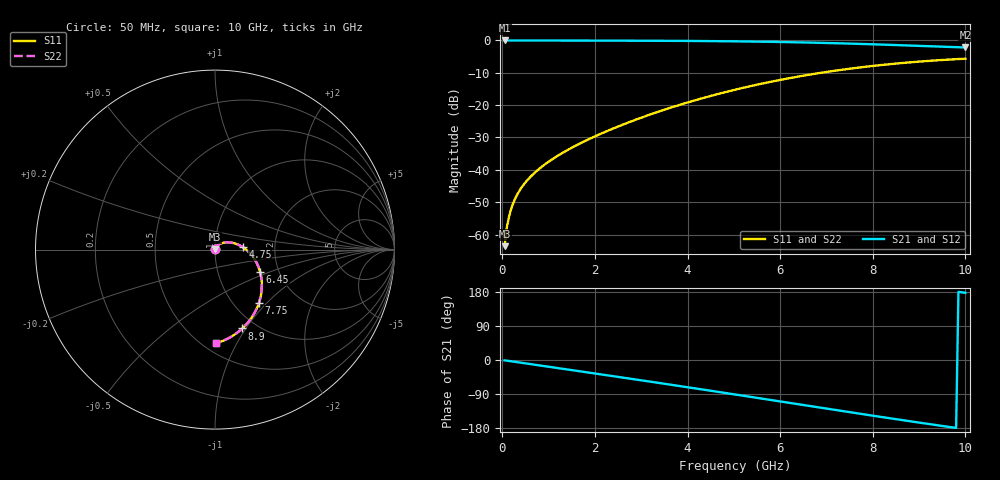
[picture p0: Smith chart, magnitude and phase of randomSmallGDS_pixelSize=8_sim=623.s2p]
! freq	dB(S11)	phase(S11)	dB(S12)	phase(S12)
!  dB(S21)	phase(S21)	dB(S22)	phase(S22)
!S-par simulation data
#  GHz  S  DB  R 50
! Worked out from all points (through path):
!   200 points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, 50 MHz to 10 GHz, reference 50 ohm
!   highest |S21| = 0.00 dB at 50 MHz (marker M1); lowest = -2.2 dB at 10 GHz (marker M2)
!   group delay of S21, straight-line fit = 51.3 ps
!   lowest |S11| = -63.6 dB at 50 MHz (marker M3), VSWR 1.00, Z = 50 + j0.0658 ohm
!   |S11| at or under -10 dB: start of sweep to 6.881 GHz
!   |S22| runs from -63.6 to -5.6 dB; largest |S21 - S12| = 0
!   S11 on the Smith chart (normalised r, x): 50 MHz: 1.00, +0.00; 4.75 GHz: 1.36, +0.04; 6.45 GHz: 1.60, -0.44; 7.75 GHz: 1.29, -0.90; 8.9 GHz: 0.86, -0.96; 10 GHz: 0.58, -0.83
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0.05  -63.61 84.9  -0.00 -0.9  -0.00 -0.9  -63.61 84.9
0.1  -57.63 85.3  -0.00 -1.8  -0.00 -1.8  -57.63 85.3
0.15  -54.15 84.7  -0.00 -2.7  -0.00 -2.7  -54.15 84.7
0.2  -51.70 83.8  -0.00 -3.6  -0.00 -3.6  -51.70 83.8
0.3  -48.26 82.1  -0.01 -5.4  -0.01 -5.4  -48.26 82.1
0.45  -44.80 79.8  -0.01 -8.0  -0.01 -8.0  -44.80 79.8
0.65  -41.56 76.9  -0.02 -11.6  -0.02 -11.6  -41.56 76.9
0.95  -37.99 72.4  -0.02 -16.9  -0.02 -16.9  -37.99 72.4
1.3  -34.77 66.9  -0.03 -23.1  -0.03 -23.1  -34.77 66.9
1.75  -31.35 59.4  -0.04 -31.1  -0.04 -31.1  -31.35 59.4
2.55  -26.32 45.5  -0.06 -45.4  -0.06 -45.4  -26.32 45.4
3.4  -21.89 30.1  -0.10 -60.8  -0.10 -60.8  -21.89 30.1
4.1  -18.76 17.3  -0.15 -73.7  -0.15 -73.7  -18.76 17.2
4.75  -16.21 5.3  -0.23 -85.8  -0.23 -85.8  -16.21 5.2
5.05  -15.15 -0.3  -0.27 -91.4  -0.27 -91.4  -15.15 -0.4
5.75  -12.91 -13.4  -0.41 -104.6  -0.41 -104.6  -12.91 -13.5
6.45  -11.01 -26.5  -0.59 -117.8  -0.59 -117.8  -11.01 -26.6
6.7  -10.41 -31.2  -0.67 -122.6  -0.67 -122.6  -10.41 -31.2
7.75  -8.29 -50.5  -1.08 -142.3  -1.08 -142.3  -8.29 -50.6
8.35  -7.35 -61.3  -1.35 -153.4  -1.35 -153.4  -7.35 -61.3
8.9  -6.65 -70.9  -1.62 -163.4  -1.62 -163.4  -6.65 -71.0
10  -5.64 -89.5  -2.17 177.2  -2.17 177.2  -5.64 -89.6
